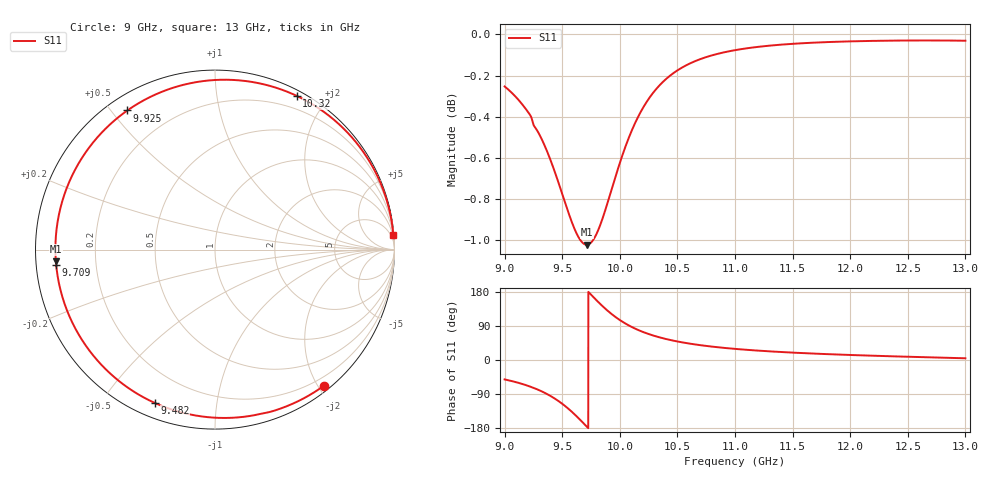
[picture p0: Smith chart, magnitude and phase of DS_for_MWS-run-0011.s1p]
! TOUCHSTONE file generated by CST DESIGN STUDIO
! Date and time: Tue Feb  4 18:46:51 2025
! Project name: C:\Work\MatlabApps\UnitCellOptimizationMatlab\CST\unitcell.cst
! Tree item: Tasks\Sweep1\SPara1\S-Parameters
! Header version: 2024
! Port assignment regex: !\s*Touchstone port\s*([0-9]+)\s*=\s*(CST MWS port|CST DES external port|CST DES block port)\s*(.+)\s* \(\"(.*)\"\)(\s*mode\s*([0-9]+))?.*
! Touchstone port assignment:
! Touchstone port 1 = CST DES external port 1 ("")
# GHz S MA R 50
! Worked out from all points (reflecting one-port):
!   4001 points, 9 GHz to 13 GHz, reference 50 ohm
!   lowest |S11| = -1.0 dB at 9.713 GHz (marker M1), VSWR 17.01, Z = 2.94 - j1.85 ohm
!   phase of S11 starts at -51 deg and turns -304 deg over the sweep
!   S11 on the Smith chart (normalised r, x): 9 GHz: 0.08, -2.08; 9.482 GHz: 0.06, -0.68; 9.709 GHz: 0.06, -0.05; 9.925 GHz: 0.06, +0.55; 10.32 GHz: 0.06, +1.66; 13 GHz: 1, +25
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9  0.9713 -51.2
9.138  0.9628 -61.8
9.264  0.9493 -75.1
9.386  0.9341 -92.8
9.436  0.9259 -101.9
9.482  0.9179 -111.4
9.5  0.9147 -115.5
9.55  0.9058 -127.7
9.599  0.898 -141.0
9.657  0.8913 -158.2
9.709  0.889 -174.5
9.713  0.889 -175.8
9.759  0.8906 169.6
9.806  0.8954 155.1
9.867  0.9051 137.3
9.925  0.9162 122.2
10  0.9306 105.5
10.071  0.9427 92.4
10.155  0.9545 79.8
10.234  0.963 70.3
10.318  0.9701 62.0
10.5  0.9801 48.9
10.718  0.9867 38.4
11  0.9912 29.3
11.5  0.9948 19.5
12  0.9961 13.2
12.5  0.9966 8.6
13  0.9965 4.6
